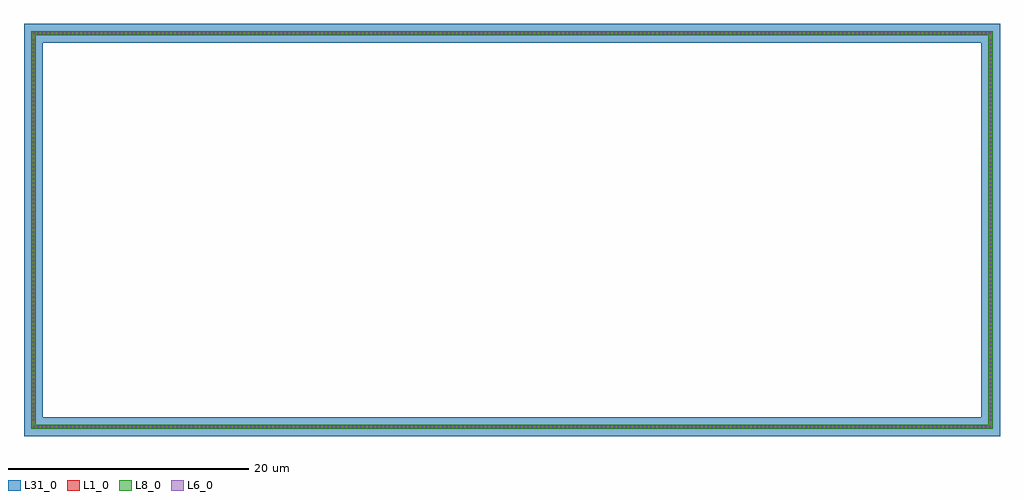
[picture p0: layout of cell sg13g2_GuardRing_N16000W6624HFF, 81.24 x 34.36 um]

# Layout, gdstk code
import gdstk
lib = gdstk.Library(unit=1e-6, precision=1e-09)
def R(c, l, rs):  # rectangles x0, y0, x1, y1
    for r in rs: c.add(gdstk.rectangle(r[:2], r[2:], *l))
def A(c, l, x, y, w, h, nx, ny, dx, dy):  # array of equal rectangles
    R(c, l, [(x+i*dx, y+j*dy, x+i*dx+w, y+j*dy+h) for i in range(nx) for j in range(ny)])
def P(c, l, *ps):  # polygons
    for p in ps: c.add(gdstk.Polygon(p, *l))
L1_0 = (1, 0)
L6_0 = (6, 0)
L8_0 = (8, 0)
L31_0 = (31, 0)

sg13g2_guardring_n16000w = lib.new_cell('sg13g2_GuardRing_N16000W6624HFF')
P(sg13g2_guardring_n16000w, L1_0, [(-40,-16.56),(-40,16.22),(-39.66,16.22),(-39.66,-16.22),(39.66,-16.22),(39.66,16.22),(-40,16.22),(-40,16.56),(40,16.56),(40,-16.56)])
A(sg13g2_guardring_n16000w, L6_0, -39.86, -16.47, 0.16, 0.16, 235, 2, 0.34, 32.78)
A(sg13g2_guardring_n16000w, L6_0, -39.91, -15.89, 0.16, 0.16, 1, 94, 0, 0.34)
A(sg13g2_guardring_n16000w, L6_0, 39.75, -15.89, 0.16, 0.16, 1, 94, 0, 0.34)
P(sg13g2_guardring_n16000w, L8_0, [(-40,-16.56),(-40,16.22),(-39.66,16.22),(-39.66,-16.22),(39.66,-16.22),(39.66,16.22),(-40,16.22),(-40,16.56),(40,16.56),(40,-16.56)])
P(sg13g2_guardring_n16000w, L31_0, [(-40.62,-17.18),(-40.62,15.6),(-39.04,15.6),(-39.04,-15.6),(39.04,-15.6),(39.04,15.6),(-40.62,15.6),(-40.62,17.18),(40.62,17.18),(40.62,-17.18)])

lib.write_gds('sg13g2_GuardRing_N16000W6624HFF.gds')
